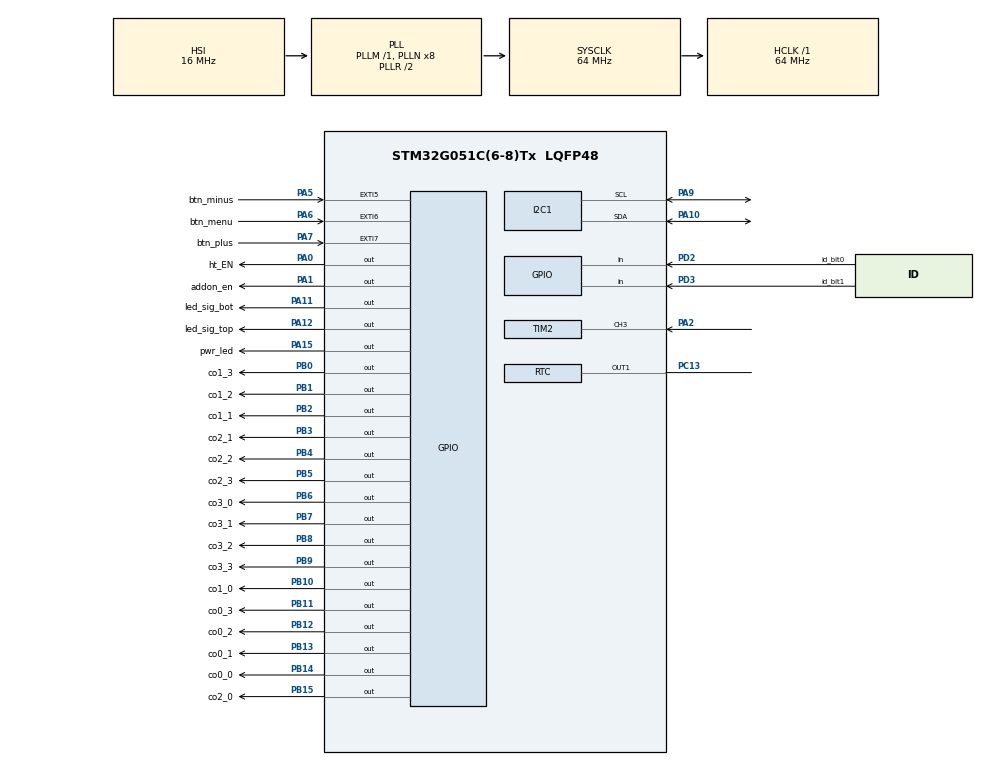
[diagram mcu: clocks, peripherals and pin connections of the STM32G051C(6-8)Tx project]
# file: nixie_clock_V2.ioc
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I2C1.Timing=0x10B17DB5
Mcu.Family=STM32G0
Mcu.Name=STM32G051C(6-8)Tx
Mcu.Package=LQFP48
NVIC.EXTI4_15_IRQn=true\:0\:0\:false\:false\:true\:true\:true\:true
NVIC.RTC_TAMP_IRQn=true\:0\:0\:false\:false\:true\:true\:true\:true
NVIC.TIM1_BRK_UP_TRG_COM_IRQn=true\:0\:0\:false\:false\:true\:true\:true\:true
NVIC.TIM1_CC_IRQn=true\:0\:0\:false\:false\:true\:true\:true\:true
NVIC.TIM2_IRQn=true\:0\:0\:false\:false\:true\:true\:true\:true
PA0.GPIO_Label=ht_EN
PA0.GPIO_PuPd=GPIO_PULLUP
PA0.PinState=GPIO_PIN_SET
PA0.Signal=GPIO_Output
PA1.GPIO_Label=addon_en
PA1.PinState=GPIO_PIN_SET
PA1.Signal=GPIO_Output
PA10.Mode=I2C
PA10.Signal=I2C1_SDA
PA11\ [PA9].GPIO_Label=led_sig_bot
PA11\ [PA9].Signal=GPIO_Output
PA12\ [PA10].GPIO_Label=led_sig_top
PA12\ [PA10].Signal=GPIO_Output
PA13.Mode=Serial_Wire
PA13.Signal=SYS_SWDIO
PA14-BOOT0.Mode=Serial_Wire
PA14-BOOT0.Signal=SYS_SWCLK
PA15.GPIO_Label=pwr_led
PA15.PinState=GPIO_PIN_SET
PA15.Signal=GPIO_Output
PA2.Signal=S_TIM2_CH3
PA5.GPIO_Label=btn_minus
PA5.GPIO_ModeDefaultEXTI=GPIO_MODE_IT_FALLING
PA5.Signal=GPXTI5
PA6.GPIO_Label=btn_menu
PA6.GPIO_ModeDefaultEXTI=GPIO_MODE_IT_FALLING
PA6.Signal=GPXTI6
PA7.GPIO_Label=btn_plus
PA7.GPIO_ModeDefaultEXTI=GPIO_MODE_IT_FALLING
PA7.Signal=GPXTI7
PA9.Mode=I2C
PA9.Signal=I2C1_SCL
PB0.GPIO_Label=co1_3
PB0.GPIO_ModeDefaultOutputPP=GPIO_MODE_OUTPUT_PP
PB0.GPIO_PuPd=GPIO_PULLDOWN
PB0.GPIO_Speed=GPIO_SPEED_FREQ_LOW
PB0.PinState=GPIO_PIN_RESET
PB0.Signal=GPIO_Output
PB1.GPIO_Label=co1_2
PB1.GPIO_ModeDefaultOutputPP=GPIO_MODE_OUTPUT_PP
PB1.GPIO_PuPd=GPIO_PULLDOWN
PB1.GPIO_Speed=GPIO_SPEED_FREQ_LOW
PB1.PinState=GPIO_PIN_RESET
PB1.Signal=GPIO_Output
PB10.GPIO_Label=co1_0
PB10.GPIO_ModeDefaultOutputPP=GPIO_MODE_OUTPUT_PP
PB10.GPIO_PuPd=GPIO_PULLDOWN
PB10.GPIO_Speed=GPIO_SPEED_FREQ_LOW
PB10.PinState=GPIO_PIN_RESET
PB10.Signal=GPIO_Output
PB11.GPIO_Label=co0_3
PB11.GPIO_ModeDefaultOutputPP=GPIO_MODE_OUTPUT_PP
PB11.GPIO_PuPd=GPIO_PULLDOWN
PB11.GPIO_Speed=GPIO_SPEED_FREQ_LOW
PB11.PinState=GPIO_PIN_RESET
PB11.Signal=GPIO_Output
PB12.GPIO_Label=co0_2
PB12.GPIO_ModeDefaultOutputPP=GPIO_MODE_OUTPUT_PP
PB12.GPIO_PuPd=GPIO_PULLDOWN
PB12.GPIO_Speed=GPIO_SPEED_FREQ_LOW
PB12.PinState=GPIO_PIN_RESET
PB12.Signal=GPIO_Output
PB13.GPIO_Label=co0_1
PB13.GPIO_ModeDefaultOutputPP=GPIO_MODE_OUTPUT_PP
PB13.GPIO_PuPd=GPIO_PULLDOWN
PB13.GPIO_Speed=GPIO_SPEED_FREQ_LOW
PB13.PinState=GPIO_PIN_RESET
PB13.Signal=GPIO_Output
PB14.GPIO_Label=co0_0
PB14.GPIO_ModeDefaultOutputPP=GPIO_MODE_OUTPUT_PP
PB14.GPIO_PuPd=GPIO_PULLDOWN
PB14.GPIO_Speed=GPIO_SPEED_FREQ_LOW
PB14.PinState=GPIO_PIN_RESET
PB14.Signal=GPIO_Output
PB15.GPIO_Label=co2_0
PB15.GPIO_ModeDefaultOutputPP=GPIO_MODE_OUTPUT_PP
PB15.GPIO_PuPd=GPIO_PULLDOWN
PB15.GPIO_Speed=GPIO_SPEED_FREQ_LOW
PB15.PinState=GPIO_PIN_RESET
PB15.Signal=GPIO_Output
PB2.GPIO_Label=co1_1
PB2.GPIO_ModeDefaultOutputPP=GPIO_MODE_OUTPUT_PP
PB2.GPIO_PuPd=GPIO_PULLDOWN
PB2.GPIO_Speed=GPIO_SPEED_FREQ_LOW
PB2.PinState=GPIO_PIN_RESET
PB2.Signal=GPIO_Output
PB3.GPIO_Label=co2_1
PB3.GPIO_ModeDefaultOutputPP=GPIO_MODE_OUTPUT_PP
PB3.GPIO_PuPd=GPIO_PULLDOWN
PB3.GPIO_Speed=GPIO_SPEED_FREQ_LOW
PB3.PinState=GPIO_PIN_RESET
PB3.Signal=GPIO_Output
PB4.GPIO_Label=co2_2
PB4.GPIO_ModeDefaultOutputPP=GPIO_MODE_OUTPUT_PP
PB4.GPIO_PuPd=GPIO_PULLDOWN
PB4.GPIO_Speed=GPIO_SPEED_FREQ_LOW
PB4.PinState=GPIO_PIN_RESET
PB4.Signal=GPIO_Output
PB5.GPIO_Label=co2_3
PB5.GPIO_ModeDefaultOutputPP=GPIO_MODE_OUTPUT_PP
PB5.GPIO_PuPd=GPIO_PULLDOWN
PB5.GPIO_Speed=GPIO_SPEED_FREQ_LOW
PB5.PinState=GPIO_PIN_RESET
PB5.Signal=GPIO_Output
PB6.GPIO_Label=co3_0
PB6.GPIO_ModeDefaultOutputPP=GPIO_MODE_OUTPUT_PP
PB6.GPIO_PuPd=GPIO_PULLDOWN
PB6.GPIO_Speed=GPIO_SPEED_FREQ_LOW
PB6.PinState=GPIO_PIN_RESET
PB6.Signal=GPIO_Output
PB7.GPIO_Label=co3_1
PB7.GPIO_ModeDefaultOutputPP=GPIO_MODE_OUTPUT_PP
PB7.GPIO_PuPd=GPIO_PULLDOWN
PB7.GPIO_Speed=GPIO_SPEED_FREQ_LOW
PB7.PinState=GPIO_PIN_RESET
PB7.Signal=GPIO_Output
PB8.GPIO_Label=co3_2
PB8.GPIO_ModeDefaultOutputPP=GPIO_MODE_OUTPUT_PP
PB8.GPIO_PuPd=GPIO_PULLDOWN
PB8.GPIO_Speed=GPIO_SPEED_FREQ_LOW
PB8.PinState=GPIO_PIN_RESET
PB8.Signal=GPIO_Output
PB9.GPIO_Label=co3_3
PB9.GPIO_ModeDefaultOutputPP=GPIO_MODE_OUTPUT_PP
PB9.GPIO_PuPd=GPIO_PULLDOWN
PB9.GPIO_Speed=GPIO_SPEED_FREQ_LOW
PB9.PinState=GPIO_PIN_RESET
PB9.Signal=GPIO_Output
PC13.Mode=Calibration_1Hz
PC13.Signal=RTC_OUT1
PC14-OSC32_IN\ (PC14).Mode=LSE-External-Oscillator
PC14-OSC32_IN\ (PC14).Signal=RCC_OSC32_IN
PC15-OSC32_OUT\ (PC15).Mode=LSE-External-Oscillator
PC15-OSC32_OUT\ (PC15).Signal=RCC_OSC32_OUT
PD2.GPIO_Label=id_bit0
PD2.GPIO_PuPd=GPIO_PULLUP
PD2.Signal=GPIO_Input
PD3.GPIO_Label=id_bit1
PD3.GPIO_PuPd=GPIO_PULLUP
PD3.Signal=GPIO_Input
ProjectManager.HeapSize=0x200
ProjectManager.StackSize=0x400
ProjectManager.TargetToolchain=CMake
RCC.ADCFreq_Value=64000000
RCC.AHBFreq_Value=64000000
RCC.CortexFreq_Value=64000000
RCC.EXTERNAL_CLOCK_VALUE=48000
RCC.HCLKFreq_Value=64000000
RCC.HSE_VALUE=8000000
RCC.HSI_VALUE=16000000
RCC.RTCClockSelection=RCC_RTCCLKSOURCE_LSE
RCC.SYSCLKFreq_VALUE=64000000
RCC.SYSCLKSource=RCC_SYSCLKSOURCE_PLLCLK
RCC.VCOOutputFreq_Value=128000000
RTC.Alarm-Alarm\ A=RTC_ALARM_A
RTC.AlarmMaskDateWeekDay-Alarm\ A=RTC_ALARMMASK_DATEWEEKDAY
RTC.Date=19
RTC.DayLightSaving=RTC_DAYLIGHTSAVING_NONE
RTC.Hours=0
RTC.Hours_A-Alarm\ A=2
RTC.Minutes=5
RTC.Month=RTC_MONTH_SEPTEMBER
RTC.StoreOperation=RTC_STOREOPERATION_RESET
RTC.WakeUpClock-WakeUp=RTC_WAKEUPCLOCK_CK_SPRE_16BITS
RTC.WakeUpCounter-WakeUp=0
RTC.WeekDay=RTC_WEEKDAY_SATURDAY
SH.S_TIM2_CH3.0=TIM2_CH3,Input_Capture3_from_TI3
TIM1.AutoReloadPreload=TIM_AUTORELOAD_PRELOAD_ENABLE
TIM1.ClockDivision=TIM_CLOCKDIVISION_DIV1
TIM1.Period=48000
TIM1.Prescaler=1000
TIM2.Channel-Input_Capture3_from_TI3=TIM_CHANNEL_3
TIM2.ICFilter_CH3=15
TIM2.ICPolarity_CH3=TIM_INPUTCHANNELPOLARITY_BOTHEDGE
TIM2.Period=0xFFFF
TIM2.Prescaler=64000-1
VP_RTC_VS_RTC_Activate.Mode=RTC_Enabled
VP_RTC_VS_RTC_Alarm_A_Intern.Mode=Alarm A
VP_RTC_VS_RTC_Calendar.Mode=RTC_Calendar
VP_RTC_VS_RTC_WakeUp_intern.Mode=WakeUp
VP_SYS_VS_DBSignals.Mode=DisableDeadBatterySignals
VP_TIM1_VS_ClockSourceINT.Mode=Internal
VP_TIM2_VS_ClockSourceINT.Mode=Internal
board=custom

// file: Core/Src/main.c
/* USER CODE BEGIN Header */
/**
  ******************************************************************************
  * @file           : main.c
  * @brief          : Main program body
  ******************************************************************************
  * @attention
  *
  * Copyright (c) 2025 STMicroelectronics.
  * All rights reserved.
  *
  * This software is licensed under terms that can be found in the LICENSE file
  * in the root directory of this software component.
  * If no LICENSE file comes with this software, it is provided AS-IS.
  *
  ******************************************************************************
  */

/**
 * WHEN GENERATING NEW CODE VIA CUBEMX ------> COMMENT OUT THE TIME SETTING IN RTC INIT
 */

/* USER CODE END Header */
#include "main.h"

/* USER CODE BEGIN Includes */
#include "cmsis_gcc.h"
#include "stm32g051xx.h"
#include "stm32g0xx.h"
#include "stm32g0xx_hal.h"
#include "stm32g0xx_hal_def.h"
#include "stm32g0xx_hal_gpio.h"
#include "stm32g0xx_hal_rtc.h"
#include "stm32g0xx_hal_rtc_ex.h"
#include "stm32g0xx_hal_tim.h"
#include <stdint.h>

#include "stdio.h"
#include "output_tube.h"
#include "menu.h"
#include "display.h"
#include "timeStuff.h"
#include "dcf77.h"
/* USER CODE END Includes */

I2C_HandleTypeDef hi2c1;

RTC_HandleTypeDef hrtc;

TIM_HandleTypeDef htim1;
TIM_HandleTypeDef htim2;

/* USER CODE BEGIN PV */

time_date_DataDigital TD_data = {0};
time_date_DataDigital TD_data_TEST = {0};

menu menu_position = menuTIME;
menu menu_position_old = menuTIME;

uint8_t submenu_pos = 0;

tubeDisplay nixieDisplay = {0};

DCF77_TimeTypeDef dcf_time;

volatile uint8_t tick_flag = isNotSet;
volatile uint8_t counter_seconds = 0;
volatile uint16_t tick_count = 0;

uint8_t recal_failed_cnt = 0;

/**
 * Value of the button being pressed.
 * 1: MINUS
 * 2: MENU
 * 3: PLUS
 */
volatile int8_t btn_flag_menu  = 0;
volatile int8_t btn_flag_plus  = 0;
volatile int8_t btn_flag_minus = 0;

uint8_t time_update_flag = 0;
volatile uint8_t timeDate_recal_flag = 0;
uint8_t out_of_calibration_flag = 0;

/**
 * @brief Flag to signal a change in the system via I/O or Timeout
 *  gets set whenever a button is pressed and should be reset when it is used inside a function, not everytime the loop repeats
 */
volatile uint8_t sys_update_flag = 0;

uint8_t btn_pressed_flag = isNotPressed;

//for when the sensor is being used
volatile uint8_t sensor_flag = 0;

uint8_t id_read = 0b0011;
//IDs for all available driver boards
uint8_t addon_dcf77 = 0;

/* USER CODE END PV */

void SystemClock_Config(void);
static void MX_GPIO_Init(void);
static void MX_I2C1_Init(void);
static void MX_RTC_Init(void);
static void MX_TIM1_Init(void);
static void MX_TIM2_Init(void);
/* USER CODE BEGIN PFP */

/**
 * @brief Callback for when the dcf77 driver completes a valid minute readout
 * @param time -> the time struct from dcf77 driver which contains the current time.
 */
void DCF77_MinuteCallback(DCF77_TimeTypeDef* time);

/**
 * @brief: Check for installed addons via ID pins D2 and D3 and sets corresponding flag
 * Addons:
 * 0 -> DCF77
 */
void check_for_addons(void);

/**
 * @brief Uses the time data from main time and date structure to give a 16 bit representation of the current time
 * @param: _time_date_data -> pointer to main time and date containing struct.
 * @retval Return 16 bit time data fit for direct outputting onto PORTB of the micro
 */
uint16_t set_tube_numbers_time(time_date_DataDigital* _time_date_data);

/**
 * @brief Uses the time data from main time and date structure to give a 16 bit representation of the current date
 * @param: _time_date_data -> pointer to main time and date containing struct.
 * @retval Return 16 bit date data fit for direct outputting onto PORTB of the micro
 */
uint16_t set_tube_numbers_date(time_date_DataDigital* _time_date_data);

//-----------------------------------------------------------Menu Stuff

/**
 * @brief: Dispalys the current time on the nixies. Nixie illumination is based upon start and stop times.
 */
void menu_mainTime();

/**
 * @brief: Dispalys the current date on the nixies. Nixie illumination is based upon start and stop times.
 */
void menu_mainDate();

/**
 * @brief: TODO: Dispalys the current temperaturee (left) and humidity (right) on the nixies. Nixie illumination is based upon start and stop times.
 */
void menu_Sensor();

/**
 * @brief: When out of timeframe for on times, display current time. Should have a timeout of 10s
 */
void menu_peekTime();

/**
 * @brief: Lets one manually set start and stop times. There are 2 sets of Start/Stop times, one for the morning, one for the evening.
 * @param: _submenu_pos -> pointer to the global variable submenu_pos to cicle through the numbers.
 * @param: _Tdata_startStop -> pointer to main time containing struct.
 */
void menu_startStop(uint8_t* _submenu_pos, time_date_DataDigital* _Tdata_startStop);

/**
 * @brief: Lets one manually set the time. TODO: Gets disabled when DCF77 module is used.
 * @param: _submenu_pos -> pointer to the global variable submenu_pos to cicle through the numbers.
 * @param: _Tdata -> pointer to main time containing struct.
 */
void menu_timeSet(uint8_t* _submenu_pos, time_date_DataDigital* _Tdata);

/**
 * @brief: Timeout function to return to menuTIME after a set amount of seconds. Depends on the tick_count global variable (increased by RTC 1Hz out, reset every time a button is pressed via IRQ)
 * @param: _timeoutValue -> timeout value in seconds
 */
void menu_timeout(uint8_t _timeoutValue);

/**
 * @brief: Handles blinking of display elements
 * @retval: 1 or 0, alternating every BLINK_TIME
 */
uint8_t blinkState(void);

/**
 * @brief: Handles blinking of display elements
 * @retval: 1 or 0, alternating every _blink_time
 */
uint8_t blinkState_custom(uint16_t _blink_time);

/**
 * @brief Checks if current time is in the range of on hours. If no, turn display off. Has to be called after restoring backed up start stop data
 * @param _TD_data -> Main struct for time data to check for start and stop hours
 * @param _nixieDisplay -> Main struct for display data to change status state.
 * @retval 0 if current state should be off, 1 if current state should be on.
 */
uint8_t startStop_check(time_date_DataDigital* _TD_data, tubeDisplay* _nixieDisplay);

//-----------------------------------------------------------Time Stuff

/**
 * @brief Checks for triggers of daylight saving time (last sunday in march or october ect.) and sets the RTC flags correspondingly
 * @param _DST      -> value from check_for_DST or 0 for summertime and 1 for wintertime. 2 for Error (does nothing)
 * @param hrtc      -> RTC Struct from HAL
 */
void set_for_DST(RTC_HandleTypeDef* hrtc, uint8_t _DST);

/**
 * @brief Checks for triggers of daylight saving time (last sunday in march or october ect.)
 * @param _TD_data  -> Main struct for time data
 * @param hrtc      -> RTC Struct from HAL
 * @retval 0 if sumemrtime trigger, 1 if wintertime trigger
 */
uint8_t check_for_DST(RTC_HandleTypeDef* hrtc, time_date_DataDigital* _TD_data);

//RTC related functions
/**
 * @brief reads the BKP Register DR2, which contains a 32bit combination of all start and stop times.
 * Puts them into TD_data main data structure in order
 * @param _TD_data main time structure containing all start and stop times
 */
void time_read_startStop_bkp  (time_date_DataDigital* _TD_data);

/**
 * @brief writes to the BKP Register DR2 from main time structure, which contains a 32bit combination of all start and stop times.
 * @param _TD_data main time structure containing all start and stop times
 */
void time_write_startStop_bkp (time_date_DataDigital* _TD_data);

//-----------------------------------------------------------DCF77 time calibration stuff

/**
 * @brief Check for the number of failed recalibration attempts in the RTC_BKUP_REG DR0
 * @param _hrtc -> RTC handle
 * @retval Number of previous recalibration attempts (if 0, then rtc battery is dead)
 */
uint16_t check_for_reCalAttempts(RTC_HandleTypeDef* _hrtc);

/**
 * @brief ncrements the number of recalibration attempts by one in the bkp register DR0
 * @param _hrtc -> RTC handle
 * @retval Error status (0 = OK, 1 = ERROR)
 */
HAL_StatusTypeDef increment_reCalAttempts(RTC_HandleTypeDef* _hrtc);

/**
 * @brief sets the bkp register DR0 to 1. If it is 0 -> RTC battery is dead
 * @param _hrtc -> RTC handle
 * @retval Error status (0 = OK, 1 = ERROR)
 */
HAL_StatusTypeDef clear_reCalAttempts(RTC_HandleTypeDef* _hrtc);

/**
 * @brief Recalibrates the time and date from DCF77 module
 * @param _TD_data main time and date struct
 * @param _timeout_ms timeout value in seconds after which an error is returned
 * @retval HAL_StatusTypeDef 0 = HAL_OK, 1 = HAL_ERROR
 */
HAL_StatusTypeDef time_recalibration(time_date_DataDigital* _TD_data, const uint16_t _timeout_s);

/**
 * @brief checks if recal attempt value is in acceptable borders
 * @param _hrtc -> RTC handle
 * @retval 0 -> in calibration, 1 -> out of calibration
 */
uint8_t check_for_calibration(RTC_HandleTypeDef* _hrtc);

/**
 * @brief: combines multiple dcf77 reclatibration functions in one. Recalibrates time and sets the bkp register dr0 correspondingly
 * @param: _TD_data main time and date struct
 * @param: _timeout_ms timeout value in seconds after which an error is returned
 * @param: _hrtc -> RTC handle
 */
HAL_StatusTypeDef DCF77_TimeRecalibration(time_date_DataDigital* _TD_data, const uint16_t _timeout_s, RTC_HandleTypeDef* _hrtc);

//-----------------------------------------------------------Button Stuff

/**
 * @brief Resets all button flags at once
 */
void resetBtnFlags();

void handle_btn (menu* _pos);
void handle_btnPlus (menu* _pos);
void handle_btnMinus (menu* _pos);
void handle_btnMenu (menu* _pos);

/* USER CODE END PFP */

int main(void)
{

  /* MCU Configuration--------------------------------------------------------*/

  /* Reset of all peripherals, Initializes the Flash interface and the Systick. */
  HAL_Init();

  /* Configure the system clock */
  SystemClock_Config();

  /* Initialize all configured peripherals */
  MX_GPIO_Init();
  MX_I2C1_Init();
  MX_RTC_Init();
  MX_TIM1_Init();
  MX_TIM2_Init();
  /* USER CODE BEGIN 2 */

  HAL_TIM_Base_Start_IT(&htim1);

  //Initialize the RTC
  HAL_RTC_Init(&hrtc);

  /**
   * If the random number stored in the backup register is diffrent from the current value, its not updating the Time and Date.
   * Seed, Time and Date are stored in makros
   */
   if(HAL_RTCEx_BKUPRead(&hrtc, RTC_SEED_BKP_REGISTER) != RANDOM_SEED_UPDATE) {
    setTime(CURRENT_TIME_HOURS, CURRENT_TIME_MINUTES, CURRENT_TIME_SECONDS);
    setDate(CURRENT_DATE_YEAR, CURRENT_DATE_MONTH, CURRENT_DATE_WEEKDAY, CURRENT_DATE_DAY);
  }

  //If cal wasn't successful for 3 days or rtc battery is dead -> out of calibration
  if(check_for_calibration(&hrtc)) out_of_calibration_flag = 1;

  //Check the D2 and D3 bits for addon boards. No board -> 0b11
  check_for_addons();

  //If module is found -> initiate it. When out of calibration -> calibrate it
  if(addon_dcf77) {
    DCF77_Init(&htim2);
    DCF77_RegisterCallback(DCF77_MinuteCallback);

    if(out_of_calibration_flag) DCF77_TimeRecalibration(&TD_data, 5*60, &hrtc);
  }

  /**
   * Retrieve time and date data from the running RTC
   * Try 10 times or till a HAL_OK is retrieved
   * Disable IRQ while doing this to prevent faulty time data
   */
  __disable_irq();

  if(getTimeDate(&TD_data) != HAL_OK) {
    HAL_StatusTypeDef _Status = HAL_ERROR;

    for(uint8_t tries = 0; tries < 10; tries++) {
      _Status = getTimeDate(&TD_data);
      if(_Status == HAL_OK) break;
    }
  }
  __enable_irq();

  //Set the Front LEDs On
  output_front_led(1, 1);

  //Check for daylight saving time
  set_for_DST(&hrtc, check_for_DST(&hrtc, &TD_data));

  //Retrieve start and stop time from RTC backup register and push them to the main time struct
  time_read_startStop_bkp(&TD_data);

  //Check if start stop times are reached and change the corresponding bit in the nixieDisplay struct
  startStop_check(&TD_data, &nixieDisplay);

  //Output current time to main time struct
  nixieDisplay.displayDigitOutput = set_tube_numbers_time(&TD_data);

  //output time data to the display struct
  output_to_tubesNEW(&nixieDisplay);

  //Set the HT supply state to the corresponding state in display struct
  ht_supply_state(&nixieDisplay);

  /* USER CODE END 2 */

  /* Infinite loop */
  /* USER CODE BEGIN WHILE */

  while (1)
  {

    if(addon_dcf77) {
      //does something once a day at 2 (set by Alarm A interrupt handler)
      if(timeDate_recal_flag) {
        DCF77_TimeRecalibration(&TD_data, 20*60, &hrtc);
        timeDate_recal_flag = 0;
      }
    }

    switch(menu_position) {
      case menuTIME:
        menu_mainTime();
        break;
      case menuDATE:
        menu_mainDate();
        menu_timeout(DISPLAY_MENU_TimeDateSensor_TIMEOUT);
        break;
      case menuSENSOR:
        menu_Sensor();
        menu_timeout(DISPLAY_MENU_TimeDateSensor_TIMEOUT);
        break;
      case menuPEEKTIME:
        menu_peekTime();
        menu_timeout(10);
        break;
      case menuStartStop:
        menu_startStop(&submenu_pos, &TD_data);
        menu_timeout(DISPLAY_MENU_X_TIMEOUT);
        break;
      case menuTimeEdit:
        if(out_of_calibration_flag || !addon_dcf77) {     //If clock is out of calibration OR dcf77 addon is not pluged in -> enable timeSet menu
          menu_timeSet(&submenu_pos, &TD_data);
          menu_timeout(DISPLAY_MENU_X_TIMEOUT);
          break;
        }
        menu_position++;
        break;
      case menuOVERFLOW:
        menu_position = menuTIME;
        break;
      default:
        menu_position = menuTIME;
        break;
    }

    if((nixieDisplay.displayStatus != nixieDisplay.displayStatus_old) || (menu_position != menuTIME)) {
      if(menu_position != menuTIME) {
        nixieDisplay.displayStatus = 1;
        ht_supply_state(&nixieDisplay);
      } else {
        ht_supply_state(&nixieDisplay);
      }
      nixieDisplay.displayStatus_old = nixieDisplay.displayStatus;
    }

    if(menu_position != menuStartStop && menu_position != menuTimeEdit) {
      output_to_tubesNEW(&nixieDisplay);  //Updates the tube display only when it should be automatically updated
    }

    /* USER CODE END WHILE */

  }
}

void SystemClock_Config(void)
{
  RCC_OscInitTypeDef RCC_OscInitStruct = {0};
  RCC_ClkInitTypeDef RCC_ClkInitStruct = {0};

  /** Configure the main internal regulator output voltage
  */
  HAL_PWREx_ControlVoltageScaling(PWR_REGULATOR_VOLTAGE_SCALE1);

  /** Configure LSE Drive Capability
  */
  HAL_PWR_EnableBkUpAccess();
  __HAL_RCC_LSEDRIVE_CONFIG(RCC_LSEDRIVE_LOW);

  /** Initializes the RCC Oscillators according to the specified parameters
  * in the RCC_OscInitTypeDef structure.
  */
  RCC_OscInitStruct.OscillatorType = RCC_OSCILLATORTYPE_HSI|RCC_OSCILLATORTYPE_LSE;
  RCC_OscInitStruct.LSEState = RCC_LSE_ON;
  RCC_OscInitStruct.HSIState = RCC_HSI_ON;
  RCC_OscInitStruct.HSIDiv = RCC_HSI_DIV1;
  RCC_OscInitStruct.HSICalibrationValue = RCC_HSICALIBRATION_DEFAULT;
  RCC_OscInitStruct.PLL.PLLState = RCC_PLL_ON;
  RCC_OscInitStruct.PLL.PLLSource = RCC_PLLSOURCE_HSI;
  RCC_OscInitStruct.PLL.PLLM = RCC_PLLM_DIV1;
  RCC_OscInitStruct.PLL.PLLN = 8;
  RCC_OscInitStruct.PLL.PLLP = RCC_PLLP_DIV2;
  RCC_OscInitStruct.PLL.PLLQ = RCC_PLLQ_DIV2;
  RCC_OscInitStruct.PLL.PLLR = RCC_PLLR_DIV2;
  if (HAL_RCC_OscConfig(&RCC_OscInitStruct) != HAL_OK)
  {
    Error_Handler();
  }

  /** Initializes the CPU, AHB and APB buses clocks
  */
  RCC_ClkInitStruct.ClockType = RCC_CLOCKTYPE_HCLK|RCC_CLOCKTYPE_SYSCLK
                              |RCC_CLOCKTYPE_PCLK1;
  RCC_ClkInitStruct.SYSCLKSource = RCC_SYSCLKSOURCE_PLLCLK;
  RCC_ClkInitStruct.AHBCLKDivider = RCC_SYSCLK_DIV1;
  RCC_ClkInitStruct.APB1CLKDivider = RCC_HCLK_DIV1;

  if (HAL_RCC_ClockConfig(&RCC_ClkInitStruct, FLASH_LATENCY_2) != HAL_OK)
  {
    Error_Handler();
  }
}

static void MX_I2C1_Init(void)
{

  hi2c1.Instance = I2C1;
  hi2c1.Init.Timing = 0x10B17DB5;
  hi2c1.Init.OwnAddress1 = 0;
  hi2c1.Init.AddressingMode = I2C_ADDRESSINGMODE_7BIT;
  hi2c1.Init.DualAddressMode = I2C_DUALADDRESS_DISABLE;
  hi2c1.Init.OwnAddress2 = 0;
  hi2c1.Init.OwnAddress2Masks = I2C_OA2_NOMASK;
  hi2c1.Init.GeneralCallMode = I2C_GENERALCALL_DISABLE;
  hi2c1.Init.NoStretchMode = I2C_NOSTRETCH_DISABLE;
  if (HAL_I2C_Init(&hi2c1) != HAL_OK)
  {
    Error_Handler();
  }

  /** Configure Analogue filter
  */
  if (HAL_I2CEx_ConfigAnalogFilter(&hi2c1, I2C_ANALOGFILTER_ENABLE) != HAL_OK)
  {
    Error_Handler();
  }

  /** Configure Digital filter
  */
  if (HAL_I2CEx_ConfigDigitalFilter(&hi2c1, 0) != HAL_OK)
  {
    Error_Handler();
  }

}

static void MX_RTC_Init(void)
{

  //RTC_TimeTypeDef sTime = {0};
  //RTC_DateTypeDef sDate = {0};
  RTC_AlarmTypeDef sAlarm = {0};

  /** Initialize RTC Only
  */
  hrtc.Instance = RTC;
  hrtc.Init.HourFormat = RTC_HOURFORMAT_24;
  hrtc.Init.AsynchPrediv = 127;
  hrtc.Init.SynchPrediv = 255;
  hrtc.Init.OutPut = RTC_OUTPUT_DISABLE;
  hrtc.Init.OutPutRemap = RTC_OUTPUT_REMAP_NONE;
  hrtc.Init.OutPutPolarity = RTC_OUTPUT_POLARITY_HIGH;
  hrtc.Init.OutPutType = RTC_OUTPUT_TYPE_OPENDRAIN;
  hrtc.Init.OutPutPullUp = RTC_OUTPUT_PULLUP_NONE;
  if (HAL_RTC_Init(&hrtc) != HAL_OK)
  {
    Error_Handler();
  }

  /** Initialize RTC and set the Time and Date
  */
 /*
  sTime.Hours = 0x0;
  sTime.Minutes = 0x5;
  sTime.Seconds = 0x0;
  sTime.SubSeconds = 0x0;
  sTime.DayLightSaving = RTC_DAYLIGHTSAVING_NONE;
  sTime.StoreOperation = RTC_STOREOPERATION_RESET;
  if (HAL_RTC_SetTime(&hrtc, &sTime, RTC_FORMAT_BCD) != HAL_OK)
  {
    Error_Handler();
  }
  sDate.WeekDay = RTC_WEEKDAY_SATURDAY;
  sDate.Month = RTC_MONTH_SEPTEMBER;
  sDate.Date = 0x19;
  sDate.Year = 0x0;

  if (HAL_RTC_SetDate(&hrtc, &sDate, RTC_FORMAT_BCD) != HAL_OK)
  {
    Error_Handler();
  }
    */

  /** Enable the Alarm A
  */
  sAlarm.AlarmTime.Hours = 0x2;
  sAlarm.AlarmTime.Minutes = 0x0;
  sAlarm.AlarmTime.Seconds = 0x0;
  sAlarm.AlarmTime.SubSeconds = 0x0;
  sAlarm.AlarmTime.DayLightSaving = RTC_DAYLIGHTSAVING_NONE;
  sAlarm.AlarmTime.StoreOperation = RTC_STOREOPERATION_RESET;
  sAlarm.AlarmMask = RTC_ALARMMASK_DATEWEEKDAY;
  sAlarm.AlarmSubSecondMask = RTC_ALARMSUBSECONDMASK_ALL;
  sAlarm.AlarmDateWeekDaySel = RTC_ALARMDATEWEEKDAYSEL_DATE;
  sAlarm.AlarmDateWeekDay = 0x1;
  sAlarm.Alarm = RTC_ALARM_A;
  if (HAL_RTC_SetAlarm_IT(&hrtc, &sAlarm, RTC_FORMAT_BCD) != HAL_OK)
  {
    Error_Handler();
  }

  /** Enable the WakeUp
  */
  if (HAL_RTCEx_SetWakeUpTimer_IT(&hrtc, 0, RTC_WAKEUPCLOCK_CK_SPRE_16BITS) != HAL_OK)
  {
    Error_Handler();
  }

  /** Enable Calibration
  */
  if (HAL_RTCEx_SetCalibrationOutPut(&hrtc, RTC_CALIBOUTPUT_1HZ) != HAL_OK)
  {
    Error_Handler();
  }

}

static void MX_TIM1_Init(void)
{

  TIM_ClockConfigTypeDef sClockSourceConfig = {0};
  TIM_MasterConfigTypeDef sMasterConfig = {0};

  htim1.Instance = TIM1;
  htim1.Init.Prescaler = 1000;
  htim1.Init.CounterMode = TIM_COUNTERMODE_UP;
  htim1.Init.Period = 48000;
  htim1.Init.ClockDivision = TIM_CLOCKDIVISION_DIV1;
  htim1.Init.RepetitionCounter = 0;
  htim1.Init.AutoReloadPreload = TIM_AUTORELOAD_PRELOAD_ENABLE;
  if (HAL_TIM_Base_Init(&htim1) != HAL_OK)
  {
    Error_Handler();
  }
  sClockSourceConfig.ClockSource = TIM_CLOCKSOURCE_INTERNAL;
  if (HAL_TIM_ConfigClockSource(&htim1, &sClockSourceConfig) != HAL_OK)
  {
    Error_Handler();
  }
  sMasterConfig.MasterOutputTrigger = TIM_TRGO_RESET;
  sMasterConfig.MasterOutputTrigger2 = TIM_TRGO2_RESET;
  sMasterConfig.MasterSlaveMode = TIM_MASTERSLAVEMODE_DISABLE;
  if (HAL_TIMEx_MasterConfigSynchronization(&htim1, &sMasterConfig) != HAL_OK)
  {
    Error_Handler();
  }

}

static void MX_TIM2_Init(void)
{

  TIM_ClockConfigTypeDef sClockSourceConfig = {0};
  TIM_MasterConfigTypeDef sMasterConfig = {0};
  TIM_IC_InitTypeDef sConfigIC = {0};

  htim2.Instance = TIM2;
  htim2.Init.Prescaler = 64000-1;
  htim2.Init.CounterMode = TIM_COUNTERMODE_UP;
  htim2.Init.Period = 0xFFFF;
  htim2.Init.ClockDivision = TIM_CLOCKDIVISION_DIV1;
  htim2.Init.AutoReloadPreload = TIM_AUTORELOAD_PRELOAD_DISABLE;
  if (HAL_TIM_Base_Init(&htim2) != HAL_OK)
  {
    Error_Handler();
  }
  sClockSourceConfig.ClockSource = TIM_CLOCKSOURCE_INTERNAL;
  if (HAL_TIM_ConfigClockSource(&htim2, &sClockSourceConfig) != HAL_OK)
  {
    Error_Handler();
  }
  if (HAL_TIM_IC_Init(&htim2) != HAL_OK)
  {
    Error_Handler();
  }
  sMasterConfig.MasterOutputTrigger = TIM_TRGO_RESET;
  sMasterConfig.MasterSlaveMode = TIM_MASTERSLAVEMODE_DISABLE;
  if (HAL_TIMEx_MasterConfigSynchronization(&htim2, &sMasterConfig) != HAL_OK)
  {
    Error_Handler();
  }
  sConfigIC.ICPolarity = TIM_INPUTCHANNELPOLARITY_BOTHEDGE;
  sConfigIC.ICSelection = TIM_ICSELECTION_DIRECTTI;
  sConfigIC.ICPrescaler = TIM_ICPSC_DIV1;
  sConfigIC.ICFilter = 15;
  if (HAL_TIM_IC_ConfigChannel(&htim2, &sConfigIC, TIM_CHANNEL_3) != HAL_OK)
  {
    Error_Handler();
  }

}

static void MX_GPIO_Init(void)
{
  GPIO_InitTypeDef GPIO_InitStruct = {0};

  /* GPIO Ports Clock Enable */
  __HAL_RCC_GPIOC_CLK_ENABLE();
  __HAL_RCC_GPIOA_CLK_ENABLE();
  __HAL_RCC_GPIOB_CLK_ENABLE();
  __HAL_RCC_GPIOD_CLK_ENABLE();

  /*Configure GPIO pin Output Level */
  HAL_GPIO_WritePin(GPIOA, ht_EN_Pin|addon_en_Pin|pwr_led_Pin, GPIO_PIN_SET);

  /*Configure GPIO pin Output Level */
  HAL_GPIO_WritePin(GPIOB, co1_3_Pin|co1_2_Pin|co1_1_Pin|co1_0_Pin
                          |co0_3_Pin|co0_2_Pin|co0_1_Pin|co0_0_Pin
                          |co2_0_Pin|co2_1_Pin|co2_2_Pin|co2_3_Pin
                          |co3_0_Pin|co3_1_Pin|co3_2_Pin|co3_3_Pin, GPIO_PIN_RESET);

  /*Configure GPIO pin Output Level */
  HAL_GPIO_WritePin(GPIOA, led_sig_bot_Pin|led_sig_top_Pin, GPIO_PIN_RESET);

  /*Configure GPIO pin : ht_EN_Pin */
  GPIO_InitStruct.Pin = ht_EN_Pin;
  GPIO_InitStruct.Mode = GPIO_MODE_OUTPUT_PP;
  GPIO_InitStruct.Pull = GPIO_PULLUP;
  GPIO_InitStruct.Speed = GPIO_SPEED_FREQ_LOW;
  HAL_GPIO_Init(ht_EN_GPIO_Port, &GPIO_InitStruct);

  /*Configure GPIO pins : addon_en_Pin led_sig_bot_Pin led_sig_top_Pin pwr_led_Pin */
  GPIO_InitStruct.Pin = addon_en_Pin|led_sig_bot_Pin|led_sig_top_Pin|pwr_led_Pin;
  GPIO_InitStruct.Mode = GPIO_MODE_OUTPUT_PP;
  GPIO_InitStruct.Pull = GPIO_NOPULL;
  GPIO_InitStruct.Speed = GPIO_SPEED_FREQ_LOW;
  HAL_GPIO_Init(GPIOA, &GPIO_InitStruct);

  /*Configure GPIO pins : btn_minus_Pin btn_menu_Pin btn_plus_Pin */
  GPIO_InitStruct.Pin = btn_minus_Pin|btn_menu_Pin|btn_plus_Pin;
  GPIO_InitStruct.Mode = GPIO_MODE_IT_FALLING;
  GPIO_InitStruct.Pull = GPIO_NOPULL;
  HAL_GPIO_Init(GPIOA, &GPIO_InitStruct);

  /*Configure GPIO pins : co1_3_Pin co1_2_Pin co1_1_Pin co1_0_Pin
                           co0_3_Pin co0_2_Pin co0_1_Pin co0_0_Pin
                           co2_0_Pin co2_1_Pin co2_2_Pin co2_3_Pin
                           co3_0_Pin co3_1_Pin co3_2_Pin co3_3_Pin */
  GPIO_InitStruct.Pin = co1_3_Pin|co1_2_Pin|co1_1_Pin|co1_0_Pin
                          |co0_3_Pin|co0_2_Pin|co0_1_Pin|co0_0_Pin
                          |co2_0_Pin|co2_1_Pin|co2_2_Pin|co2_3_Pin
                          |co3_0_Pin|co3_1_Pin|co3_2_Pin|co3_3_Pin;
  GPIO_InitStruct.Mode = GPIO_MODE_OUTPUT_PP;
  GPIO_InitStruct.Pull = GPIO_PULLDOWN;
  GPIO_InitStruct.Speed = GPIO_SPEED_FREQ_LOW;
  HAL_GPIO_Init(GPIOB, &GPIO_InitStruct);

  /*Configure GPIO pins : id_bit0_Pin id_bit1_Pin */
  GPIO_InitStruct.Pin = id_bit0_Pin|id_bit1_Pin;
  GPIO_InitStruct.Mode = GPIO_MODE_INPUT;
  GPIO_InitStruct.Pull = GPIO_PULLUP;
  HAL_GPIO_Init(GPIOD, &GPIO_InitStruct);

  /* EXTI interrupt init*/
  HAL_NVIC_SetPriority(EXTI4_15_IRQn, 0, 0);
  HAL_NVIC_EnableIRQ(EXTI4_15_IRQn);

}

/* USER CODE BEGIN 4 */

HAL_StatusTypeDef setTime(uint8_t hour, uint8_t minute, uint8_t second) {
  RTC_TimeTypeDef sTime = {0};
  sTime.Hours = hour;
  sTime.Minutes = minute;
  sTime.Seconds = second;
  sTime.SubSeconds = 0x0;

  if (HAL_RTC_SetTime(&hrtc, &sTime, RTC_FORMAT_BIN) != HAL_OK)
  {
    return HAL_ERROR;
  }
  //HAL_RTC_DST_Sub1Hour(&hrtc);  // TODO Daylight Saving Time,check for last sunday of march and last sunday in october to set opr unset DST.
  return HAL_OK;
}

HAL_StatusTypeDef setDate(uint8_t year, uint8_t month, uint8_t weekday, uint8_t date) { //weekday->Monday = 1, date->which day in month (0-31)
  RTC_DateTypeDef sDate = {0};
  sDate.WeekDay = weekday;
  sDate.Month = month;
  sDate.Date = date;
  sDate.Year = year;

  if (HAL_RTC_SetDate(&hrtc, &sDate, RTC_FORMAT_BIN) != HAL_OK)
  {
    return HAL_ERROR;
  }

  HAL_RTCEx_BKUPWrite(&hrtc, RTC_BKP_DR1, RANDOM_SEED_UPDATE);

  return HAL_OK;
}

HAL_StatusTypeDef getTimeDate(time_date_DataDigital* dTimeDate) {
  RTC_DateTypeDef gDate;
  RTC_TimeTypeDef gTime;
  uint8_t _error_count = 0;

  //Get current time
  if(HAL_RTC_GetTime(&hrtc, &gTime, RTC_FORMAT_BIN) != HAL_OK) _error_count++;

  //Get current date
  if(HAL_RTC_GetDate(&hrtc, &gDate, RTC_FORMAT_BIN) != HAL_OK) _error_count++;

  dTimeDate->hours = gTime.Hours;
  dTimeDate->minutes = gTime.Minutes;
  dTimeDate->seconds = gTime.Seconds;

  dTimeDate->day = gDate.Date;
  dTimeDate->weekday = gDate.WeekDay;
  dTimeDate->month = gDate.Month;
  dTimeDate->year = gDate.Year;

  if(_error_count != 0) return HAL_ERROR;
  return HAL_OK;
}

uint16_t set_tube_numbers_time(time_date_DataDigital* _time_date_data) {

  //Start by extracting the single numbers out of the time struct to fuse them to a 16-Bit number later

  //Hours
  //calculate the tens
  uint8_t hours_tens = _time_date_data->hours / 10;
  //calculate the ones
  uint8_t hours_ones = _time_date_data->hours % 10;

  //Minutes
  //calculate the tens
  uint8_t minutes_tens = _time_date_data->minutes / 10;
  //calculate the ones
  uint8_t minutes_ones = _time_date_data->minutes % 10;

  return(combine_4bit_numbers(hours_tens, hours_ones, minutes_tens, minutes_ones));
}

uint16_t set_tube_numbers_date(time_date_DataDigital* _time_date_data) {

  //Start by extracting the single numbers out of the time struct to fuse them to a 16-Bit number later

  //Hours
  //calculate the tens
  uint8_t month_tens = _time_date_data->month / 10;
  //calculate the ones
  uint8_t month_ones = _time_date_data->month % 10;

  //Minutes
  //calculate the tens
  uint8_t day_tens = _time_date_data->day / 10;
  //calculate the ones
  uint8_t day_ones = _time_date_data->day % 10;

  /*Works miracilously perfectly :) but useless unless the PCB changes to accomondate for the correct pin order
  uint16_t _timeData_port = (hours_tens << 12) | (hours_ones << 8) |
                            (minutes_tens << 4) | minutes_ones;
  */

  return(combine_4bit_numbers(day_tens, day_ones, month_tens, month_ones));
}

void menu_mainTime() {
  output_blink_front_leds(solid);

  if(sys_update_flag) {
    getTimeDate(&TD_data);
    nixieDisplay.displayDigitOutput = set_tube_numbers_time(&TD_data);

    startStop_check(&TD_data, &nixieDisplay);

    set_for_DST(&hrtc, check_for_DST(&hrtc, &TD_data));

    sys_update_flag = 0;
  }

  if(tick_flag == isSet) { //flag set by interrupt by RTC on 1Hz

    getTimeDate(&TD_data);      //Get time from RTC registers

    //Update display data, nixies dont have seconds!
    if(TD_data.seconds == 0) {
      nixieDisplay.displayDigitOutput = set_tube_numbers_time(&TD_data);
      set_for_DST(&hrtc, check_for_DST(&hrtc, &TD_data));
    }

    startStop_check(&TD_data, &nixieDisplay);

    tick_flag = reset; //reset update flag
  }

  handle_btn(&menu_position);
}

void menu_mainDate() {
  output_blink_front_leds(solidBot);

  if(sys_update_flag) {
    getTimeDate(&TD_data);
    nixieDisplay.displayDigitOutput = set_tube_numbers_date(&TD_data);

    sys_update_flag = 0;
  }

  if(tick_flag == isSet) {

    getTimeDate(&TD_data);

    nixieDisplay.displayDigitOutput = set_tube_numbers_date(&TD_data);

    tick_flag = reset;
  }

  handle_btn(&menu_position);
}

void menu_Sensor() {
  output_blink_front_leds(blinkBoth);

  if(sys_update_flag) {
    nixieDisplay.displayDigitOutput = combine_4bit_numbers(9, BLANK, 9, BLANK); //PLACEHOLDER

    nixieDisplay.displayStatus = 1;

    if(nixieDisplay.displayStatus != nixieDisplay.displayStatus_old) {
      ht_supply_state(&nixieDisplay);
      nixieDisplay.displayStatus_old = nixieDisplay.displayStatus;
    }

    sys_update_flag = 0;
  }

  if(tick_flag == isSet) {

    tick_flag = reset;
  }

  handle_btn(&menu_position);
}

void menu_startStop(uint8_t* _submenu_pos, time_date_DataDigital* _Tdata_startStop) {

  output_blink_front_leds(blinkTop);

  static uint8_t temp_time;

  //if somethings need to happen only once getting into this menu
  if(menu_position_old != menu_position) {
    *_submenu_pos = 0;
    temp_time = _Tdata_startStop->startHour1;
    menu_position_old = menu_position;
  }

  //handle_btn(&menu_position);

  if(btn_flag_plus) {
    temp_time = (temp_time + 1) % 24;
    btn_flag_plus = 0;
  }

  if(btn_flag_minus) {
    temp_time = (temp_time + 23) % 24;
    btn_flag_minus = 0;
  }

  if(btn_flag_menu) {
    switch(*_submenu_pos) {
      case 0:
        _Tdata_startStop->startHour1 = temp_time;
        temp_time = _Tdata_startStop->stopHour1;
        (*_submenu_pos)++;
        break;
      case 1:
        _Tdata_startStop->stopHour1 = temp_time;
        temp_time = _Tdata_startStop->startHour2;
        (*_submenu_pos)++;
        break;
      case 2:
        _Tdata_startStop->startHour2 = temp_time;
        temp_time = _Tdata_startStop->stopHour2;
        (*_submenu_pos)++;
        break;
      case 3:
        _Tdata_startStop->stopHour2 = temp_time;
        *_submenu_pos = 0;
        time_write_startStop_bkp(_Tdata_startStop);
        menu_position++;
        break;
    }
    btn_flag_menu = 0;
  }

  output_to_tubes(combine_4bit_numbers((temp_time/10), (temp_time%10), 0, 0));
}

void menu_timeSet(uint8_t* _submenu_pos, time_date_DataDigital* _Tdata) {

  output_blink_front_leds(blinkBot);

  static uint8_t temp_time;
  static uint8_t temp_time_combine;

  //if somethings need to happen only once getting into this menu
  if(menu_position_old != menu_position) {
    *_submenu_pos = 0;
    temp_time = (_Tdata->hours / 10);
    menu_position_old = menu_position;
  }

  if(btn_flag_plus) {
    switch (*_submenu_pos) {
      case 0:
        temp_time = (temp_time + 1) % 3;
        break;
      case 1:
        if (temp_time == 3 && _Tdata->hours / 10 == 2) temp_time = 0;  // 23 -> 20, to prevent non possible hour values like 25, 26 ect.
        else temp_time = (temp_time + 1) % 10;
        break;
      case 2:
        temp_time = (temp_time + 1) % 6;
        break;
      case 3:
        temp_time = (temp_time + 1) % 10;
        break;
    }
    btn_flag_plus = 0;
  }

  if(btn_flag_minus) {
    switch (*_submenu_pos) {
      case 0:
        temp_time = (temp_time + 2) % 3;
        break;
      case 1:
        temp_time = (temp_time + 9) % 10;
        break;
      case 2:
        temp_time = (temp_time + 5) % 6;
        break;
      case 3:
        temp_time = (temp_time + 9) % 10;
        break;
    }
    btn_flag_minus = 0;
  }

  switch(*_submenu_pos) {
    case 0:
      if(btn_flag_menu) {
        temp_time_combine = temp_time * 10;
        temp_time = _Tdata->hours % 10;
        (*_submenu_pos)++;
        btn_flag_menu = 0;
      }

      if(blinkState_custom(500)) output_to_tubes(combine_4bit_numbers(temp_time, _Tdata->hours % 10, _Tdata->minutes / 10, _Tdata->minutes % 10));
      else output_to_tubes(combine_4bit_numbers(BLANK, _Tdata->hours % 10, _Tdata->minutes / 10, _Tdata->minutes % 10));

      break;

    case 1:
      if(btn_flag_menu) {
        temp_time_combine = temp_time_combine + temp_time;
        _Tdata->hours = temp_time_combine;
        temp_time_combine = 0;
        temp_time = _Tdata->minutes / 10;
        (*_submenu_pos)++;
        btn_flag_menu = 0;
      }

      if(blinkState_custom(500)) output_to_tubes(combine_4bit_numbers(_Tdata->hours / 10, temp_time, _Tdata->minutes / 10, _Tdata->minutes % 10));
      else output_to_tubes(combine_4bit_numbers(_Tdata->hours / 10, BLANK, _Tdata->minutes / 10, _Tdata->minutes % 10));

      break;

    case 2:
      if(btn_flag_menu) {
        temp_time_combine = temp_time * 10;
        temp_time = _Tdata->minutes % 10;
        (*_submenu_pos)++;
        btn_flag_menu = 0;
      }

      if(blinkState_custom(500)) output_to_tubes(combine_4bit_numbers(_Tdata->hours / 10, _Tdata->hours % 10, temp_time, _Tdata->minutes % 10));
      else output_to_tubes(combine_4bit_numbers(_Tdata->hours / 10, _Tdata->hours % 10, BLANK, _Tdata->minutes % 10));

      break;

    case 3:
      if(btn_flag_menu) {
        temp_time_combine = temp_time_combine + temp_time;
        _Tdata->minutes = temp_time_combine;
        temp_time_combine = 0;

        setTime(_Tdata->hours, _Tdata->minutes, 0);

        *_submenu_pos = 0;
        out_of_calibration_flag = 0;
        menu_position++;
        btn_flag_menu = 0;
      }

      if(blinkState_custom(500)) output_to_tubes(combine_4bit_numbers(_Tdata->hours / 10, _Tdata->hours % 10, _Tdata->minutes / 10, temp_time));
      else output_to_tubes(combine_4bit_numbers(_Tdata->hours / 10, _Tdata->hours % 10, _Tdata->minutes / 10, BLANK));

      break;
  }
}

void menu_peekTime() {
  output_blink_front_leds(solid);

  if(sys_update_flag) {
    getTimeDate(&TD_data);
    nixieDisplay.displayDigitOutput = set_tube_numbers_time(&TD_data);

    menu_position_old = menuPEEKTIME;

    nixieDisplay.displayStatus = 1;
    sys_update_flag = 0;
  }

  if(tick_flag == isSet) { //flag set by interrupt by RTC on 1Hz

    getTimeDate(&TD_data);      //Get time from RTC registers

    //Update display data, nixies dont have seconds!
    if(TD_data.seconds == 0) {
      nixieDisplay.displayDigitOutput = set_tube_numbers_time(&TD_data);
    }

    tick_flag = reset; //reset update flag
  }

  if(btn_flag_menu)  {
    menu_position = menuStartStop;
    sys_update_flag = 1;
  }
  if(btn_flag_plus)  {
    menu_position = menuDATE;
    sys_update_flag = 1;
  }
  if(btn_flag_minus) {
    menu_position = menuSENSOR;
    sys_update_flag = 1;
  }

  resetBtnFlags();
}

void handle_btn (menu* _pos) {
  if(btn_flag_plus)  handle_btnPlus(_pos);
  if(btn_flag_minus) handle_btnMinus(_pos);
  if(btn_flag_menu)  handle_btnMenu(_pos);
}

void handle_btnPlus (menu* _pos) {
  switch (*_pos) {
    case (menuTIME):
      menu_position = menuDATE;
      sys_update_flag = 1;
      break;
    case (menuDATE):
      menu_position = menuSENSOR;
      sys_update_flag = 1;
      break;
    case (menuSENSOR):
      menu_position = menuTIME;
      sys_update_flag = 1;
      break;
    case(menuStartStop):

      break;
    case(menuTimeEdit):

      break;
    default:
      break;
  }
  btn_flag_plus = 0;
}

void handle_btnMinus (menu* _pos) {
  switch (*_pos) {
    case (menuTIME):
      menu_position = menuSENSOR;
      sys_update_flag = 1;
      break;
    case (menuDATE):
      menu_position = menuTIME;
      sys_update_flag = 1;
      break;
    case (menuSENSOR):
      menu_position = menuDATE;
      sys_update_flag = 1;
      break;
    case(menuStartStop):

      break;
    case(menuTimeEdit):

      break;
    default:
      break;
  }
  btn_flag_minus = 0;
}

void handle_btnMenu (menu* _pos) {
  switch (*_pos) {
    case (menuTIME):
      if(TD_data.in_timeframe_startStop) {
        menu_position = menuStartStop;
      } else if (!TD_data.in_timeframe_startStop) {
        menu_position = menuPEEKTIME;
        sys_update_flag = 1;
      }
      menu_position_old = menuTIME;
      break;
    case (menuDATE):

      break;
    case (menuSENSOR):

      break;
    case(menuStartStop):
      if(submenu_pos < 4) submenu_pos++;
      else {
        submenu_pos = 0;
        menu_position++;
        menu_position_old = menuStartStop;
      }
      break;
    case(menuTimeEdit):
      if(submenu_pos < 4) submenu_pos++;
      else {
        submenu_pos = 0;
        menu_position++;
        menu_position_old = menuTimeEdit;
      }
      break;
    case(menuOVERFLOW):
      menu_position = menuTIME;
      break;
    default:
      break;
  }
  btn_flag_menu = 0;
}

void menu_timeout(uint8_t _timeoutValue) {

  if(tick_count >= _timeoutValue) {
    menu_position = menuTIME;
    sys_update_flag = 1;
  }

  time_update_flag = 1;
}

uint8_t startStop_check(time_date_DataDigital* _TD_data, tubeDisplay* _nixieDisplay) {

  //Overwrite to disable start stop automatics (if all times are set to 0)
  if((_TD_data->startHour1 == 0) && (_TD_data->stopHour1 == 0) && (_TD_data->startHour2 == 0) && (_TD_data->stopHour2 == 0)) {
    _nixieDisplay->displayStatus = 1;
    return 1;
  }

  uint8_t _tempHour = _TD_data->hours;

  //Weekend routine (first start hour and second stop hour)
  if((_TD_data->weekday == saturday) || (_TD_data->weekday == sunday)) {
    uint8_t in_timeframe  = _TD_data->startHour1 < _TD_data->stopHour2
                          ? (_tempHour >= _TD_data->startHour1 && _tempHour < _TD_data->stopHour2)
                          : (_tempHour >= _TD_data->startHour1 || _tempHour < _TD_data->stopHour2);
    if(in_timeframe) {
      _nixieDisplay->displayStatus = 1;
      _TD_data->in_timeframe_startStop = 1;
      return 1;
    } else {
      _nixieDisplay->displayStatus = 0;
      _TD_data->in_timeframe_startStop = 0;
      return 0;
    }
  }

  uint8_t in_timeframe1 = (_TD_data->startHour1 < _TD_data->stopHour1)
                        ? (_tempHour >= _TD_data->startHour1 && _tempHour < _TD_data->stopHour1)    //If normal daytime hours
                        : (_tempHour >= _TD_data->startHour1 || _tempHour < _TD_data->stopHour1);   //If wrap around over midnight
  uint8_t in_timeframe2 = (_TD_data->startHour2 < _TD_data->stopHour2)
                        ? (_tempHour >= _TD_data->startHour2 && _tempHour < _TD_data->stopHour2)    //If normal daytime hours
                        : (_tempHour >= _TD_data->startHour2 || _tempHour < _TD_data->stopHour2);   //If wrap around over midnight

  if(in_timeframe1 || in_timeframe2) {
    _nixieDisplay->displayStatus = 1;
    _TD_data->in_timeframe_startStop = 1;
    return 1;
  } else {
    _nixieDisplay->displayStatus = 0;
    _TD_data->in_timeframe_startStop = 0;
    return 0;
  }
}

void check_for_addons(void) {

  uint8_t addon_id = ((HAL_GPIO_ReadPin(id_bit0_GPIO_Port, id_bit0_Pin) << 1) | (HAL_GPIO_ReadPin(id_bit1_GPIO_Port, id_bit1_Pin)));

  switch(addon_id) {
  case 0b0000:
      addon_dcf77 = 1;
      break;
  case 0b0001:
      break;
  default:
      break;
  }
}

void resetBtnFlags() {

  btn_flag_menu =  reset;
  btn_flag_minus = reset;
  btn_flag_plus =  reset;

  btn_pressed_flag = reset;
}

void time_read_startStop_bkp (time_date_DataDigital* _TD_data) {

    uint32_t temp_read = HAL_RTCEx_BKUPRead(&hrtc, RTC_START_STOP_BKP_REGISTER);

    _TD_data->startHour1 = ((temp_read >> 24) & 0xFF);
    _TD_data->stopHour1  = ((temp_read >> 16) & 0xFF);
    _TD_data->startHour2 = ((temp_read >> 8)  & 0xFF);
    _TD_data->stopHour2  = ((temp_read >> 0)  & 0xFF);
}

void time_write_startStop_bkp (time_date_DataDigital* _TD_data) {

    uint32_t temp_write = ((uint32_t)_TD_data->startHour1 << 24)
                        | ((uint32_t)_TD_data->stopHour1 << 16)
                        | ((uint32_t)_TD_data->startHour2 <<  8)
                        |  (uint32_t)_TD_data->stopHour2;

    HAL_RTCEx_BKUPWrite(&hrtc, RTC_START_STOP_BKP_REGISTER, temp_write);
}

uint8_t check_for_calibration(RTC_HandleTypeDef* _hrtc) {
  if(HAL_RTCEx_BKUPRead(_hrtc, RTC_RECAL_BKP_REGISTER) == 0 || HAL_RTCEx_BKUPRead(_hrtc, RTC_RECAL_BKP_REGISTER) >3) return 1;
  return 0;
}

uint16_t check_for_reCalAttempts(RTC_HandleTypeDef* _hrtc) {

  return (HAL_RTCEx_BKUPRead(_hrtc, RTC_RECAL_BKP_REGISTER));
}

HAL_StatusTypeDef increment_reCalAttempts(RTC_HandleTypeDef* _hrtc) {

  uint32_t _prevRecalAttempts = HAL_RTCEx_BKUPRead(_hrtc, RTC_RECAL_BKP_REGISTER);
  _prevRecalAttempts++;
  HAL_RTCEx_BKUPWrite(_hrtc, RTC_RECAL_BKP_REGISTER, _prevRecalAttempts);

  return 0;
}

HAL_StatusTypeDef clear_reCalAttempts(RTC_HandleTypeDef* _hrtc) {

  //Set to one to differentiate between battery charge loss and restart from RTC battery
  HAL_RTCEx_BKUPWrite(_hrtc, RTC_RECAL_BKP_REGISTER, 1);

  return 0;
}

void set_for_DST(RTC_HandleTypeDef* hrtc, uint8_t _DST) {
  if(!_DST) {
    HAL_RTC_DST_ClearStoreOperation(hrtc);
    HAL_RTC_DST_Add1Hour(hrtc);
    return;

  } else if (_DST == 1) {
    HAL_RTC_DST_SetStoreOperation(hrtc);
    HAL_RTC_DST_Sub1Hour(hrtc);
    return;

  } else if (_DST == 2) {
    return;
  }
}

uint8_t check_for_DST(RTC_HandleTypeDef* hrtc, time_date_DataDigital* _TD_data) {
  if((_TD_data->month == 3) && (_TD_data->weekday == sunday) && ((_TD_data->day + 7) > 31) && (HAL_RTC_DST_ReadStoreOperation(hrtc)) && (_TD_data->hours >= 2)) return 0;         //summertime
  else if((_TD_data->month == 10) && (_TD_data->weekday == sunday) && ((_TD_data->day + 7) > 31) && (!HAL_RTC_DST_ReadStoreOperation(hrtc)) && (_TD_data->hours >= 3)) return 1;  //wintertime
  return 2;
}

HAL_StatusTypeDef time_recalibration(time_date_DataDigital* _TD_data, const uint16_t _timeout_s) {

  //If the supply is on -> Error (EMF reasons)
  if(HAL_GPIO_ReadPin(ht_EN_GPIO_Port, ht_EN_Pin) == GPIO_PIN_RESET) return 1;

  DCF77_Start();

  uint32_t _start = HAL_GetTick();

  while(!DCF77_IsDataValid()) {
    if((HAL_GetTick() - _start) >= (_timeout_s * 1000)) {
      DCF77_Stop();   // Can't be that bad, but should already be stopped in the callback funtion DCF77_MinuteCallback
      return 1;
    }
    HAL_Delay(100);
  }

  //getting time from dcf77 successful -> set clock time

  DCF77_TimeTypeDef _dcf_time = DCF77_GetTime();

  _TD_data->hours     = _dcf_time.hour;
  _TD_data->minutes   = _dcf_time.minute;
  _TD_data->seconds   = 0;
  _TD_data->day       = _dcf_time.day;
  _TD_data->month     = _dcf_time.month;
  _TD_data->year      = _dcf_time.year;
  _TD_data->weekday   = _dcf_time.weekday;

  if(setTime(_TD_data->hours, _TD_data->minutes, 0)) return 1;

  if(setDate(_TD_data->year, _TD_data->month, _TD_data->weekday, _TD_data->day)) return 1;

  return 0;
}

HAL_StatusTypeDef DCF77_TimeRecalibration(time_date_DataDigital* _TD_data, const uint16_t _timeout_s, RTC_HandleTypeDef* _hrtc) {
  if(!time_recalibration(_TD_data, _timeout_s)) {
    clear_reCalAttempts(_hrtc);
    out_of_calibration_flag = 0;
    return 0;

  } else {
    if(!(check_for_reCalAttempts(_hrtc) == 0 || check_for_reCalAttempts(_hrtc) > 3)) {
      increment_reCalAttempts(_hrtc);
      out_of_calibration_flag = 0;
      return 1;
    }

    out_of_calibration_flag = 1;
    return 1;
  }
}

void DCF77_MinuteCallback(DCF77_TimeTypeDef *time) {

  //Recieved valid signal
  dcf_time.parity_ok = time->parity_ok;

  DCF77_Stop();   // Modul aus (EN HIGH), spart Strom
}

void RTC_Alarm_IRQHandler(void) {
    HAL_RTC_AlarmIRQHandler(&hrtc);
}

//Every Night at 2 set the recal flag
void HAL_RTC_AlarmAEventCallback(RTC_HandleTypeDef *hrtc) {
  if(addon_dcf77) timeDate_recal_flag = 1;
}

//Interrupt for triggering an update event every second
void HAL_RTCEx_WakeUpTimerEventCallback(RTC_HandleTypeDef *hrtc) {
  tick_flag = set;

  if(menu_position != menuTIME) tick_count++;

  //counter_seconds++;
}

/**
 * Interrupt Handler for the buttons
 */
void HAL_GPIO_EXTI_Falling_Callback(uint16_t GPIO_Pin) {
  switch(GPIO_Pin) {
    case btn_plus_Pin:
      btn_flag_plus = 1;

      tick_count = 0;
      break;

    case btn_minus_Pin:
      btn_flag_minus = 1;

      tick_count = 0;
      break;

    case btn_menu_Pin:
      btn_flag_menu = 1;

      tick_count = 0;
      break;

    default:
      break;
  }
  btn_pressed_flag = 1;
}

/* USER CODE END 4 */

void Error_Handler(void)
{
  __disable_irq();
  while (1)
  {
  }
}
